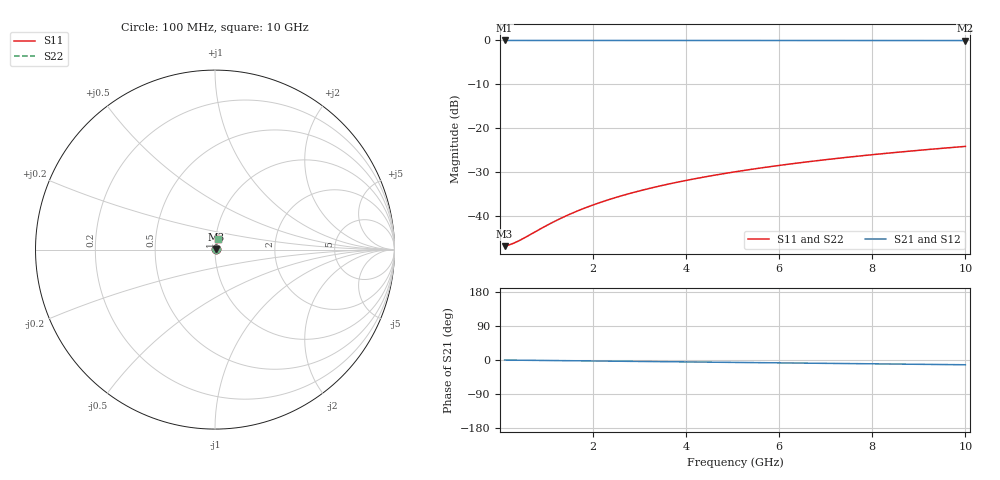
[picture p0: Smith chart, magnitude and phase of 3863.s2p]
# Hz S RI R 50.00
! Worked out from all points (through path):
!   100 points, 100 MHz to 10 GHz, reference 50 ohm
!   highest |S21| = -0.04 dB at 100 MHz (marker M1); lowest = -0.1 dB at 10 GHz (marker M2)
!   group delay of S21, straight-line fit = 3.5 ps
!   lowest |S11| = -46.9 dB at 100 MHz (marker M3), VSWR 1.01, Z = 50.4 + j0.0617 ohm
!   |S11| at or under -10 dB: start of sweep to end of sweep
!   |S22| runs from -46.9 to -24.2 dB; largest |S21 - S12| = 0
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1e8  0.00445 0.000611  0.9955 -0.00219  0.9955 -0.00219  0.00445 0.000611
2e8  0.00449 0.00122  0.9955 -0.00438  0.9955 -0.00438  0.00449 0.00122
3e8  0.00451 0.00183  0.9955 -0.00657  0.9955 -0.00657  0.00451 0.00183
4e8  0.00454 0.00244  0.9954 -0.00875  0.9954 -0.00875  0.00454 0.00244
1e9  0.00472 0.00611  0.9951 -0.0219  0.9951 -0.0219  0.00472 0.00611
1.2e9  0.0048 0.00733  0.995 -0.0263  0.995 -0.0263  0.0048 0.00733
1.5e9  0.00493 0.00916  0.9948 -0.0328  0.9948 -0.0328  0.00493 0.00916
1.8e9  0.00508 0.011  0.9945 -0.0394  0.9945 -0.0394  0.00508 0.011
2.1e9  0.00525 0.0128  0.9942 -0.0459  0.9942 -0.0459  0.00525 0.0128
2.5e9  0.00552 0.0152  0.9937 -0.0547  0.9937 -0.0547  0.00552 0.0152
2.9e9  0.00583 0.0177  0.9931 -0.0634  0.9931 -0.0634  0.00583 0.0177
3.4e9  0.00628 0.0207  0.9922 -0.0743  0.9922 -0.0743  0.00628 0.0207
3.8e9  0.00668 0.0231  0.9915 -0.083  0.9915 -0.083  0.00668 0.0231
4.2e9  0.00712 0.0255  0.9906 -0.0917  0.9906 -0.0917  0.00712 0.0255
4.6e9  0.00761 0.0279  0.9897 -0.1004  0.9897 -0.1004  0.00761 0.0279
5.1e9  0.00828 0.0309  0.9884 -0.1113  0.9884 -0.1113  0.00828 0.0309
5.9e9  0.00948 0.0356  0.9861 -0.1286  0.9861 -0.1286  0.00948 0.0356
6.7e9  0.0108 0.0403  0.9835 -0.1459  0.9835 -0.1459  0.0108 0.0403
7.5e9  0.0124 0.0449  0.9805 -0.1631  0.9805 -0.1631  0.0124 0.0449
8.4e9  0.0143 0.05  0.9768 -0.1824  0.9768 -0.1824  0.0143 0.05
9.2e9  0.0162 0.0545  0.9731 -0.1994  0.9731 -0.1994  0.0162 0.0545
1e10  0.0182 0.0589  0.9692 -0.2164  0.9692 -0.2164  0.0182 0.0589
